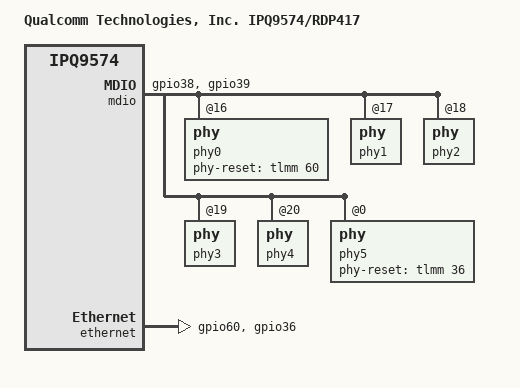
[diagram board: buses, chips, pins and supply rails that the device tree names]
// SPDX-License-Identifier: GPL-2.0-only
/*
 * Copyright (c) Qualcomm Technologies, Inc. and/or its subsidiaries.
 */

/dts-v1/;

#include "ipq9574-rdp-common.dtsi"

/ {
	model = "Qualcomm Technologies, Inc. IPQ9574/RDP417";
	compatible = "qcom,ipq9574-rdp417", "qcom,ipq9574";

	soc@0 {
		mdio: mdio@90000 {
			pinctrl-names = "default";
			pinctrl-0 = <&mdio_pinmux>;
			status = "okay";

			phy0: phy@16 {
				phy-reset-gpio = <&tlmm 60 0>;
				phy_addr = <16>;
				phy_type = <QCA8075_PHY_TYPE>;
				id = <1>;
				uniphy_id = <0>;
				uniphy_type = <0>;
			};

			phy1: phy@17 {
				phy_addr = <17>;
				phy_type = <QCA8075_PHY_TYPE>;
				id = <2>;
				uniphy_id = <0>;
				uniphy_type = <0>;
			};

			phy2: phy@18 {
				phy_addr = <18>;
				phy_type = <QCA8075_PHY_TYPE>;
				id = <3>;
				uniphy_id = <0>;
				uniphy_type = <0>;
			};

			phy3: phy@19 {
				phy_addr = <19>;
				phy_type = <QCA8075_PHY_TYPE>;
				id = <4>;
				uniphy_id = <0>;
				uniphy_type = <0>;
			};

			phy4: phy@20 {
				phy_addr = <20>;
				phy_type = <QCA8075_PHY_TYPE>;
				id = <5>;
				uniphy_id = <0>;
				uniphy_type = <0>;
			};

			phy5: phy@0 {
				phy-reset-gpio = <&tlmm 36 0>;
				phy_addr = <0>;
				phy_type = <AQ_PHY_TYPE>;
				phy-mode = "usxgmii";
				id = <6>;
				uniphy_id = <2>;
				uniphy_type = <0>;
				xgmac;
			};
		};

		ethernet: nss-switch {
			pinctrl-names = "default";
			pinctrl-0 = <&phy_rst_pinmux>;
			phy-handle0 = <&phy0>;
			phy-handle1 = <&phy1>;
			phy-handle2 = <&phy2>;
			phy-handle3 = <&phy3>;
			phy-handle4 = <&phy4>;
			phy-handle5 = <&phy5>;
			status = "okay";
		};
	};
};

&tlmm {
	mdio_pinmux: mdio {
		mdc {
			pins = "gpio38";
			function = "mdc";
			drive-strength = <8>;
			bias-disable;
		};

		mdio {
			pins = "gpio39";
			function = "mdio";
			drive-strength = <8>;
			bias-pull-up;
		};
	};

	phy_rst_pinmux: phy_rst {
		qti_8085_rst {
			pins = "gpio60";
			drive-strength = <8>;
			bias-pull-up;
		};

		qti_aquantia_rst {
			pins = "gpio36";
			drive-strength = <8>;
			bias-pull-up;
		};
	};
};
